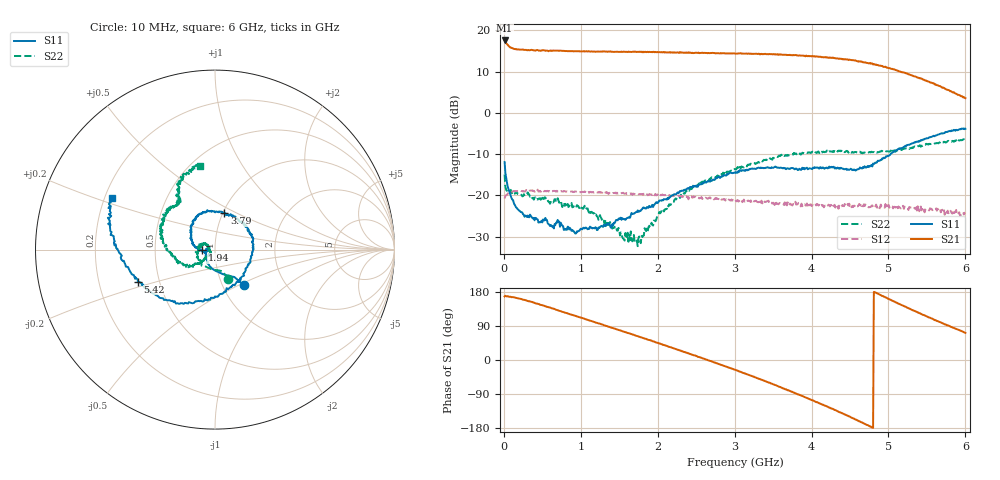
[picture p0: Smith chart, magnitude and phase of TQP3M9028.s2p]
! TriQuint Semiconductor
! TQP3M9028 High Linearity LNA Gain Block
! SOT-89 Package
! The data is for the unmatched device in a 50 Ohm system, 2-port file de-embedded to the device leads.
! Device bias: +5V V @ 85 mA Icq
! Temperature: 25C
! Date: 03/25/2011
! Lot Code: H828
!  Port 1 corresponds to Pin 1 on the TQP3M9028 (RF input)
!  Port 2 corresponds to Pin 3 on the TQP3M9028 (RF output)
! All data in ma (Magnitude/Angle) format
! freq-unit  param-type  data-format  keyword  impedance-ohms
# GHZ  S  MA  R  50
!Freq  S11Mag  S11Ang  S21Mag  S21Ang  S12Mag  S12Ang  S22Mag  S22Ang
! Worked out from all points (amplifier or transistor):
!   600 points, 10 MHz to 6 GHz, reference 50 ohm
!   highest |S21| = 17.5 dB at 10 MHz (marker M1)
!   |S21| within 3 dB of that: start of sweep to 2.279 GHz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
!   unconditionally stable (mu >= 1): 16.04 MHz to end of sweep
!   at 1.01 GHz: K = 1.12, MAG = 14.9 dB, |S12| = -19.2 dB
!   at 3.01 GHz: K = 1.25, MAG = 14.7 dB, |S12| = -21.1 dB
!   at 6 GHz: K = 2.77, MAG = 6.6 dB, |S12| = -24.2 dB
!   S11 on the Smith chart (normalised r, x): 10 MHz: 1.25, -0.53; 1.94 GHz: 0.87, -0.00; 3.79 GHz: 1.02, +0.43; 5.42 GHz: 0.38, -0.17; 6 GHz: 0.23, +0.23
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0.01  0.2529 -51.1  7.538 167.8  0.0915 13.5  0.1788 -65.2
0.07  0.1116 -94.6  6.361 166.8  0.1088 4.0  0.1073 -118.8
0.13  0.0806 -119.6  5.963 165.4  0.1125 -1.1  0.1032 -144.4
0.63  0.0415 -178.2  5.683 136.0  0.1119 -26.3  0.0831 164.5
1.01  0.039 164.3  5.554 111.4  0.1098 -41.3  0.0709 153.0
1.46  0.0502 -177.8  5.493 81.5  0.105 -61.9  0.0411 153.4
1.94  0.0721 -178.4  5.486 49.1  0.1056 -84.0  0.043 -130.4
2.01  0.0829 -177.5  5.427 44.5  0.0986 -85.4  0.0573 -144.4
2.28  0.109 173.3  5.334 25.6  0.0981 -99.8  0.0976 -138.5
2.55  0.1369 159.2  5.305 7.0  0.0924 -112.2  0.1341 -145.2
3.01  0.1913 133.3  5.234 -26.3  0.0886 -133.9  0.207 -160.5
3.42  0.2178 107.3  5.152 -57.7  0.0848 -154.2  0.2681 179.5
3.79  0.2099 75.5  5.005 -88.0  0.0837 -174.2  0.3208 161.6
4.01  0.208 47.6  4.88 -106.1  0.0753 173.2  0.338 154.8
4.33  0.2147 8.3  4.573 -134.5  0.0751 158.1  0.3481 141.2
4.54  0.2053 -24.6  4.346 -153.8  0.072 142.2  0.3318 134.3
4.78  0.2326 -71.7  3.976 -177.6  0.075 126.9  0.3378 129.3
5.01  0.306 -109.7  3.486 160.3  0.0707 108.3  0.3379 125.8
5.22  0.3994 -135.5  3.047 140.9  0.0718 89.7  0.3704 125.2
5.42  0.4654 -157.5  2.602 122.1  0.0732 81.4  0.3884 121.2
5.73  0.5683 172.5  1.973 94.2  0.0581 56.4  0.4446 113.9
6  0.64 153.3  1.506 71.6  0.0615 36.5  0.4753 100.3
